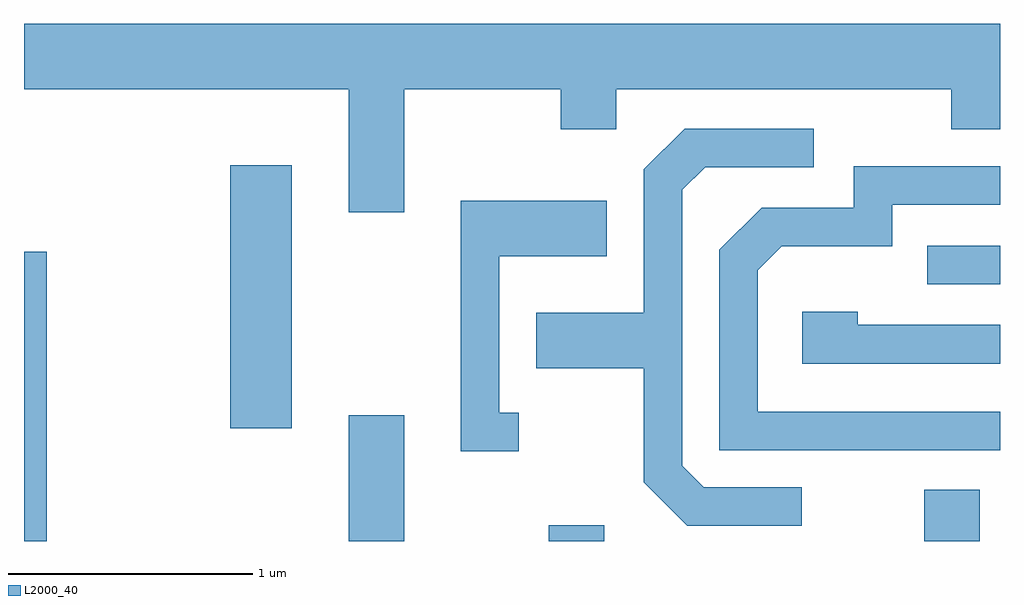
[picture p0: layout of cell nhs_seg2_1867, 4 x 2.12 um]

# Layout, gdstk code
import gdstk
lib = gdstk.Library(unit=1e-6, precision=1e-09)
def R(c, l, rs):  # rectangles x0, y0, x1, y1
    for r in rs: c.add(gdstk.rectangle(r[:2], r[2:], *l))
def P(c, l, *ps):  # polygons
    for p in ps: c.add(gdstk.Polygon(p, *l))
L2000_40 = (2000, 40)

nhs_seg2_1867 = lib.new_cell('nhs_seg2_1867')
R(nhs_seg2_1867, L2000_40, [(239.611,1039.802,239.704,1040.989), (240.941,1039.802,241.169,1040.319), (241.761,1039.802,241.989,1039.869), (243.301,1039.802,243.529,1040.014), (240.456,1040.266,240.709,1041.344), (243.313,1040.856,243.611,1041.014)])
P(nhs_seg2_1867, L2000_40, [(241.169,1041.656),(241.811,1041.656),(241.811,1041.491),(242.039,1041.491),(242.039,1041.656),(243.411,1041.656),(243.411,1041.491),(243.611,1041.491),(243.611,1041.924),(239.611,1041.924),(239.611,1041.656),(240.941,1041.656),(240.941,1041.151),(241.169,1041.151)],
  [(242.798,1040.024),(242.397,1040.024),(242.309,1040.112),(242.309,1041.244),(242.402,1041.336),(242.848,1041.336),(242.848,1041.494),(242.319,1041.494),(242.151,1041.327),(242.151,1040.739),(241.711,1040.739),(241.711,1040.511),(242.151,1040.511),(242.151,1040.044),(242.329,1039.866),(242.798,1039.866)],
  [(243.611,1040.334),(242.619,1040.334),(242.619,1040.914),(242.717,1041.011),(243.169,1041.011),(243.169,1041.181),(243.611,1041.181),(243.611,1041.339),(243.011,1041.339),(243.011,1041.169),(242.634,1041.169),(242.461,1040.997),(242.461,1040.176),(243.611,1040.176)],
  [(241.638,1040.329),(241.559,1040.329),(241.559,1040.971),(241.999,1040.971),(241.999,1041.199),(241.401,1041.199),(241.401,1040.171),(241.638,1040.171)],
  [(243.611,1040.689),(243.029,1040.689),(243.029,1040.744),(242.801,1040.744),(242.801,1040.531),(243.611,1040.531)])

lib.write_gds('nhs_seg2_1867.gds')
